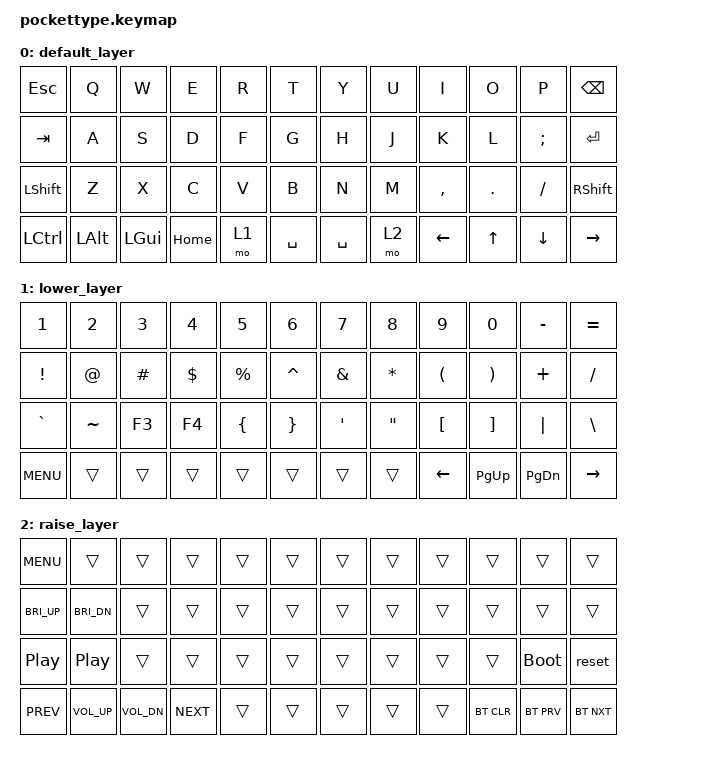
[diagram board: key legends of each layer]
/*
 * Copyright (c) 2020 The ZMK Contributors
 *
 * SPDX-License-Identifier: MIT
 */

#include <behaviors.dtsi>
#include <dt-bindings/zmk/keys.h>
#include <dt-bindings/zmk/bt.h>

/ {
	keymap {
		compatible = "zmk,keymap";
		
		default_layer {
			bindings = <
				&kp ESC  &kp Q     &kp W    &kp E    &kp R  &kp T   &kp Y     &kp U  &kp I      &kp O    &kp P    &kp BSPC
				&kp TAB     &kp A     &kp S    &kp D    &kp F  &kp G   &kp H     &kp J  &kp K      &kp L    &kp SEMICOLON &kp ENTER
				&kp LSHFT   &kp Z     &kp X    &kp C    &kp V  &kp B   &kp N     &kp M  &kp COMMA  &kp DOT  &kp SLASH  &kp RSHIFT
				&kp LCTRL   &kp LALT  &kp LGUI &kp HOME &mo 1  &kp SPACE &kp SPACE &mo 2  &kp LEFT   &kp UP &kp DOWN   &kp RIGHT
			>;
		};

		lower_layer {
			bindings = <
				&kp N1   &kp N2 &kp N3   &kp N4   &kp N5    &kp N6    &kp N7   &kp N8    &kp N9   &kp N0   &kp MINUS &kp EQUAL
				&kp EXCL &kp AT &kp HASH &kp DLLR &kp PRCNT &kp CARET &kp AMPS &kp ASTRK &kp LPAR &kp RPAR &kp PLUS &kp FSLH
				&kp GRAVE   &kp TILDE &kp F3   &kp F4   &kp LBRC    &kp RBRC    &kp SQT   &kp DQT    &kp LBKT   &kp RBKT  &kp PIPE   &kp BSLH
				&kp C_MENU   &trans &trans   &trans   &trans    &trans    &trans   &trans    &kp LEFT   &kp PG_UP &kp PG_DN  &kp RIGHT
			>;
		};

		raise_layer {
			bindings = <
				&kp C_MENU   &trans  &trans  &trans   &trans  &trans  &trans   &trans  &trans  &trans  &trans  &trans
				&kp C_BRI_UP &kp C_BRI_DN  &trans &trans &trans &trans &trans &trans &trans &trans &trans &trans
				&kp C_PLAY_PAUSE  &kp C_PLAY_PAUSE  &trans   &trans   &trans   &trans  &trans &trans &trans &trans &bootloader  &reset
				&kp C_PREV &kp C_VOL_UP &kp C_VOL_DN &kp C_NEXT   &trans    &trans  &trans &trans &trans &bt BT_CLR &bt BT_PRV &bt BT_NXT
			>;
		};
	};
};
